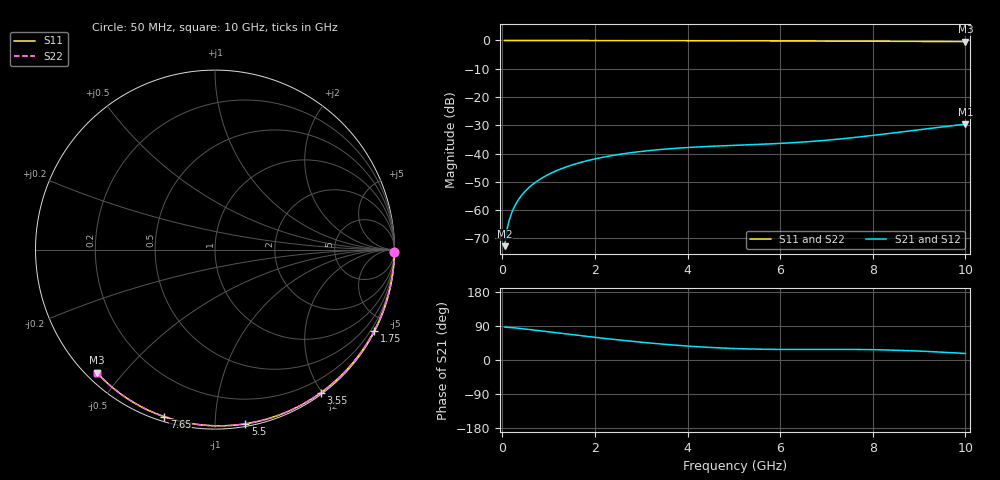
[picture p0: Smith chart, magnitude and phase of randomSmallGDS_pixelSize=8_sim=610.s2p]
! freq	dB(S11)	phase(S11)	dB(S12)	phase(S12)
!  dB(S21)	phase(S21)	dB(S22)	phase(S22)
!S-par simulation data
#  GHz  S  DB  R 50
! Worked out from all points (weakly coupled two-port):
!   200 points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, 50 MHz to 10 GHz, reference 50 ohm
!   highest |S21| = -29.59 dB at 10 GHz (marker M1); lowest = -72.7 dB at 50 MHz (marker M2)
!   lowest |S11| = -0.4 dB at 10 GHz (marker M3), VSWR 39.15, Z = 1.51 - j21.3 ohm
!   |S11| at or under -10 dB: nowhere
!   |S22| runs from -0.4 to 0.0 dB; largest |S21 - S12| = 0
!   S11 on the Smith chart (normalised r, x): 50 MHz: open; 1.75 GHz: 0.04, -4.15; 3.55 GHz: 0.02, -1.98; 5.5 GHz: 0.02, -1.19; 7.65 GHz: 0.02, -0.74; 10 GHz: 0.03, -0.43
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0.05  -0.00 -0.8  -72.74 86.9  -72.74 86.9  -0.00 -0.8
0.1  -0.00 -1.6  -66.96 86.3  -66.96 86.3  -0.00 -1.6
0.15  -0.00 -2.4  -63.54 86.0  -63.54 86.0  -0.00 -2.4
0.2  -0.00 -3.1  -61.09 85.5  -61.09 85.5  -0.00 -3.1
0.25  -0.00 -3.9  -59.17 85.0  -59.17 85.0  -0.00 -3.9
0.35  -0.00 -5.5  -56.28 83.7  -56.28 83.7  -0.00 -5.5
0.5  -0.01 -7.9  -53.22 81.6  -53.22 81.6  -0.01 -7.8
0.7  -0.01 -11.0  -50.35 78.7  -50.35 78.7  -0.01 -11.0
1  -0.02 -15.6  -47.35 74.3  -47.35 74.3  -0.02 -15.6
1.35  -0.03 -21.0  -44.90 69.1  -44.90 69.1  -0.03 -21.0
1.75  -0.03 -27.1  -42.87 63.3  -42.87 63.3  -0.03 -27.1
2.5  -0.05 -38.3  -40.35 53.1  -40.35 53.1  -0.05 -38.3
3.4  -0.07 -51.4  -38.58 42.5  -38.58 42.5  -0.07 -51.4
3.55  -0.07 -53.6  -38.37 41.0  -38.37 41.0  -0.07 -53.6
4.3  -0.09 -64.1  -37.59 34.4  -37.59 34.4  -0.09 -64.1
5.05  -0.11 -74.2  -37.06 30.1  -37.06 30.1  -0.11 -74.2
5.5  -0.13 -80.1  -36.77 28.6  -36.77 28.6  -0.13 -80.1
6.7  -0.18 -95.3  -35.68 27.9  -35.68 27.9  -0.18 -95.3
7.65  -0.24 -106.8  -34.23 27.8  -34.23 27.8  -0.24 -106.8
8.35  -0.29 -115.0  -32.89 26.3  -32.89 26.3  -0.29 -115.0
9.2  -0.36 -124.8  -31.17 22.4  -31.17 22.4  -0.36 -124.8
10  -0.44 -133.8  -29.59 17.2  -29.59 17.2  -0.44 -133.8
